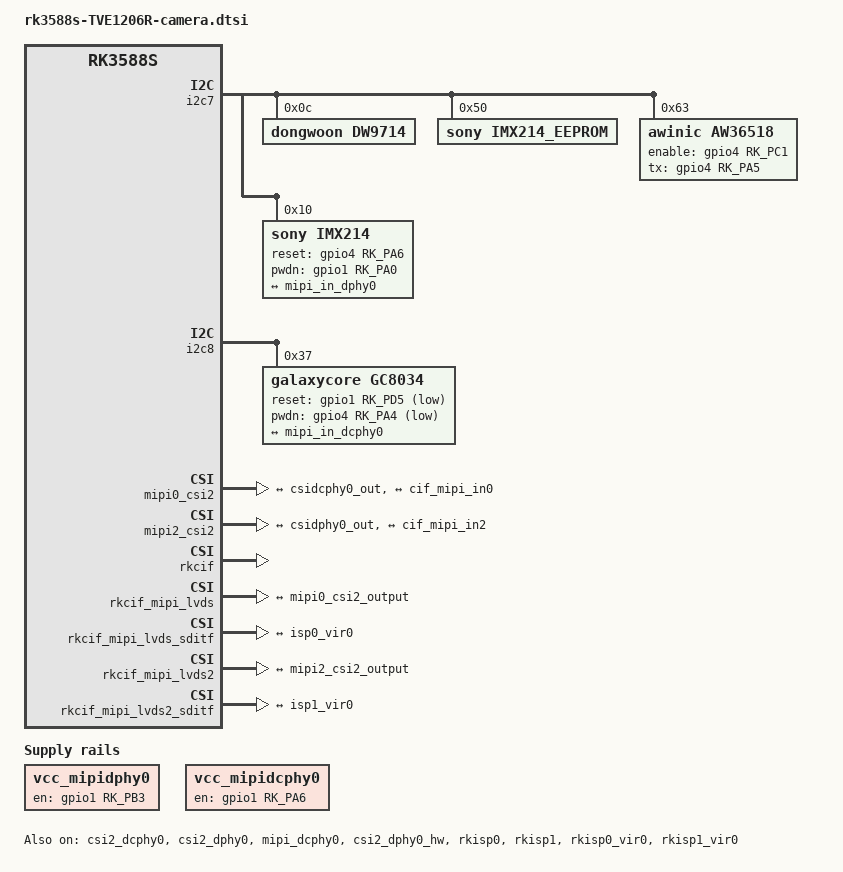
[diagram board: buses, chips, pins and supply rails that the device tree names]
// SPDX-License-Identifier: (GPL-2.0+ OR MIT)
/*
 * Copyright (c) 2021 Rockchip Electronics Co., Ltd.
 *
 */
/ {
	vcc_mipidphy0: vcc-mipidphy0-regulator {
		compatible = "regulator-fixed";
		gpio = <&gpio1 RK_PB3 GPIO_ACTIVE_HIGH>;
		pinctrl-names = "default";
		pinctrl-0 = <&mipidphy0_pwr>;
		regulator-name = "vcc_mipidphy0";
		enable-active-high;
		regulator-boot-on;
		regulator-always-on;
	};

	vcc_mipidcphy0: vcc-mipidcphy0-regulator {
		compatible = "regulator-fixed";
		gpio = <&gpio1 RK_PA6 GPIO_ACTIVE_HIGH>;
		pinctrl-names = "default";
		pinctrl-0 = <&mipidcphy0_pwr>;
		regulator-name = "vcc_mipidcphy0";
		enable-active-high;
		regulator-boot-on;
		regulator-always-on;
	};
};

&csi2_dcphy0 {
	status = "okay";

	ports {
		#address-cells = <1>;
		#size-cells = <0>;
		port@0 {
			reg = <0>;
			#address-cells = <1>;
			#size-cells = <0>;

			mipi_in_dcphy0: endpoint@1 {
				reg = <1>;
				remote-endpoint = <&gc8034_out>;
				data-lanes = <1 2>;
			};
		};

		port@1 {
			reg = <1>;
			#address-cells = <1>;
			#size-cells = <0>;

			csidcphy0_out: endpoint@0 {
				reg = <0>;
				remote-endpoint = <&mipi0_csi2_input>;
			};
		};
	};
};

&csi2_dphy0 {
	status = "okay";

	ports {
		#address-cells = <1>;
		#size-cells = <0>;
		port@0 {
			reg = <0>;
			#address-cells = <1>;
			#size-cells = <0>;

			mipi_in_dphy0: endpoint@2 {
				reg = <2>;
				remote-endpoint = <&imx214_out0>;
				data-lanes = <1 2 3 4>;
			};
		};

		port@1 {
			reg = <1>;
			#address-cells = <1>;
			#size-cells = <0>;

			csidphy0_out: endpoint@0 {
				reg = <0>;
				remote-endpoint = <&mipi2_csi2_input>;
			};
		};
	};
};

&mipi_dcphy0 {
	status = "okay";
};

&csi2_dphy0_hw {
	status = "okay";
};

&i2c7 {
	status = "okay";
	pinctrl-names = "default";
	pinctrl-0 = <&i2c7m3_xfer>;

	dw9714: dw9714@c {
		compatible = "dongwoon,dw9714";
		status = "okay";
		reg = <0x0c>;
		rockchip,camera-module-index = <0>;
		rockchip,vcm-start-current = <10>;
		rockchip,vcm-rated-current = <85>;
		rockchip,vcm-step-mode = <5>;
		rockchip,camera-module-facing = "back";
	};

	imx214_eeprom: imx214_eeprom@50 {
		compatible = "sony,imx214_eeprom";
		status = "okay";
		reg = <0x50>;
	};

	aw36518: aw36518@63 {
		#address-cells = <1>;
		#size-cells = <0>;
		compatible = "awinic,aw36518";
		status = "okay";
		reg = <0x63>;
		rockchip,camera-module-index = <0>;
		rockchip,camera-module-facing = "back";
		enable-gpio = <&gpio4 RK_PC1 GPIO_ACTIVE_HIGH>;
		tx-gpio = <&gpio4 RK_PA5 GPIO_ACTIVE_HIGH>;
		aw36518_led0: led@0 {
			reg = <0x0>;
			led-max-microamp = <386000>;
			flash-max-microamp = <1000000>;
			flash-max-timeout-us = <1600000>;
		};
	};

	imx214: imx214@10 {
		compatible = "sony,imx214";
		status = "okay";
		reg = <0x10>;
		clocks = <&cru CLK_MIPI_CAMARAOUT_M1>;
		clock-names = "xvclk";
		flash-leds = <&aw36518_led0>;
		power-domains = <&power RK3588_PD_VI>;
		pinctrl-names = "default";
		pinctrl-0 = <&mipim1_camera1_clk>;
		reset-gpios = <&gpio4 RK_PA6 GPIO_ACTIVE_HIGH>;
		pwdn-gpios = <&gpio1 RK_PA0 GPIO_ACTIVE_HIGH>;
		rockchip,camera-module-index = <0>;
		rockchip,camera-module-facing = "back";
		rockchip,camera-module-name = "default-v2";
		rockchip,camera-module-lens-name = "default";
		lens-focus = <&dw9714>;
		eeprom-ctrl = <&imx214_eeprom>;
		port {
			imx214_out0: endpoint {
				remote-endpoint = <&mipi_in_dphy0>;
				data-lanes = <1 2 3 4>;
			};
		};
	};
};

&i2c8 {
	status = "okay";
	pinctrl-names = "default";
	pinctrl-0 = <&i2c8m2_xfer>;

	gc8034: gc8034@37 {
		compatible = "galaxycore,gc8034";
		status = "okay";
		reg = <0x37>;
		clocks = <&cru CLK_MIPI_CAMARAOUT_M3>;
		clock-names = "xvclk";
		power-domains = <&power RK3588_PD_VI>;
		pinctrl-names = "default";
		pinctrl-0 = <&mipim1_camera3_clk>;
		reset-gpios = <&gpio1 RK_PD5 GPIO_ACTIVE_LOW>;
		pwdn-gpios = <&gpio4 RK_PA4 GPIO_ACTIVE_LOW>;
		rockchip,camera-module-index = <1>;
		rockchip,camera-module-facing = "front";
		rockchip,camera-module-name = "RK-CMK-8M-2-v2";
		rockchip,camera-module-lens-name = "CK8401";
		port {
			gc8034_out: endpoint {
				remote-endpoint = <&mipi_in_dcphy0>;
				data-lanes = <1 2>;
			};
		};
	};
};

&mipi0_csi2 {
	status = "okay";

	ports {
		#address-cells = <1>;
		#size-cells = <0>;

		port@0 {
			reg = <0>;
			#address-cells = <1>;
			#size-cells = <0>;

			mipi0_csi2_input: endpoint@1 {
				reg = <1>;
				remote-endpoint = <&csidcphy0_out>;
			};
		};

		port@1 {
			reg = <1>;
			#address-cells = <1>;
			#size-cells = <0>;

			mipi0_csi2_output: endpoint@0 {
				reg = <0>;
				remote-endpoint = <&cif_mipi_in0>;
			};
		};
	};
};

&mipi2_csi2 {
	status = "okay";

	ports {
		#address-cells = <1>;
		#size-cells = <0>;

		port@0 {
			reg = <0>;
			#address-cells = <1>;
			#size-cells = <0>;

			mipi2_csi2_input: endpoint@1 {
				reg = <1>;
				remote-endpoint = <&csidphy0_out>;
			};
		};

		port@1 {
			reg = <1>;
			#address-cells = <1>;
			#size-cells = <0>;

			mipi2_csi2_output: endpoint@0 {
				reg = <0>;
				remote-endpoint = <&cif_mipi_in2>;
			};
		};
	};
};

&rkcif {
	status = "okay";
};

&rkcif_mipi_lvds {
	status = "okay";

	port {
		cif_mipi_in0: endpoint {
			remote-endpoint = <&mipi0_csi2_output>;
		};
	};
};

&rkcif_mipi_lvds_sditf {
	status = "okay";

	port {
		mipi_lvds_sditf: endpoint {
			remote-endpoint = <&isp0_vir0>;
		};
	};
};

&rkcif_mipi_lvds2 {
	status = "okay";

	port {
		cif_mipi_in2: endpoint {
			remote-endpoint = <&mipi2_csi2_output>;
		};
	};
};

&rkcif_mipi_lvds2_sditf {
	status = "okay";

	port {
		mipi_lvds2_sditf: endpoint {
			remote-endpoint = <&isp1_vir0>;
		};
	};
};

&rkcif_mmu {
	status = "okay";
};

&rkisp0 {
	status = "okay";
};

&isp0_mmu {
	status = "okay";
};

&rkisp1 {
	status = "okay";
};

&isp1_mmu {
	status = "okay";
};

&rkisp0_vir0 {
	status = "okay";

	port {
		#address-cells = <1>;
		#size-cells = <0>;

		isp0_vir0: endpoint@0 {
			reg = <0>;
			remote-endpoint = <&mipi_lvds_sditf>;
		};
	};
};

&rkisp1_vir0 {
	status = "okay";

	port {
		#address-cells = <1>;
		#size-cells = <0>;

		isp1_vir0: endpoint@0 {
			reg = <0>;
			remote-endpoint = <&mipi_lvds2_sditf>;
		};
	};
};

&pinctrl {
	cam {
		cam_flash_pins: cam-flash-pins {
			rockchip,pins =
				<4 RK_PC1 RK_FUNC_GPIO &pcfg_pull_down>,
				<4 RK_PA5 RK_FUNC_GPIO &pcfg_pull_down>;
		};

		mipidphy0_pwr: mipidphy0-pwr {
			rockchip,pins =
				/* camera power en */
				<1 RK_PB3 RK_FUNC_GPIO &pcfg_pull_none>;
		};

		mipidcphy0_pwr: mipidcphy0-pwr {
			rockchip,pins =
				/* camera power en */
				<1 RK_PA6 RK_FUNC_GPIO &pcfg_pull_none>;
		};
	};
};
